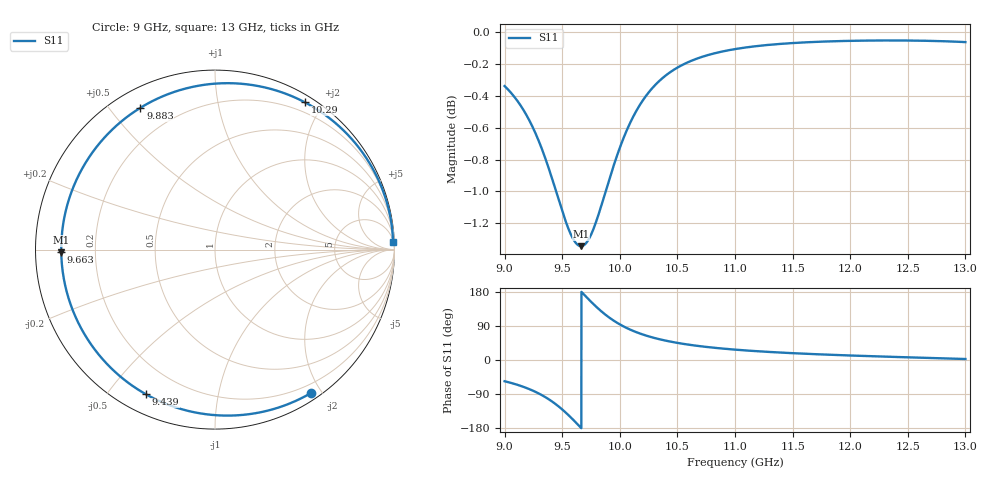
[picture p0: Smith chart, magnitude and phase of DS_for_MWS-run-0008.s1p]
! TOUCHSTONE file generated by CST DESIGN STUDIO
! Date and time: Tue Feb  4 18:28:30 2025
! Project name: C:\Work\MatlabApps\UnitCellOptimizationMatlab\CST\unitcell.cst
! Tree item: Tasks\Sweep1\SPara1\S-Parameters
! Header version: 2024
! Port assignment regex: !\s*Touchstone port\s*([0-9]+)\s*=\s*(CST MWS port|CST DES external port|CST DES block port)\s*(.+)\s* \(\"(.*)\"\)(\s*mode\s*([0-9]+))?.*
! Touchstone port assignment:
! Touchstone port 1 = CST DES external port 1 ("")
# GHz S MA R 50
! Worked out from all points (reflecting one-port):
!   4001 points, 9 GHz to 13 GHz, reference 50 ohm
!   lowest |S11| = -1.3 dB at 9.663 GHz (marker M1), VSWR 12.96, Z = 3.86 - j0.446 ohm
!   phase of S11 starts at -56 deg and turns -301 deg over the sweep
!   S11 on the Smith chart (normalised r, x): 9 GHz: 0.09, -1.88; 9.439 GHz: 0.08, -0.63; 9.663 GHz: 0.08, -0.01; 9.883 GHz: 0.08, +0.60; 10.29 GHz: 0.08, +1.78; 13 GHz: 7, +43
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9  0.9617 -56.0
9.112  0.9514 -65.5
9.223  0.9369 -77.9
9.343  0.915 -96.1
9.393  0.904 -105.6
9.439  0.8932 -115.5
9.5  0.8788 -130.4
9.543  0.8697 -142.2
9.589  0.862 -155.8
9.627  0.8581 -167.6
9.663  0.8568 -179.0
9.709  0.8588 166.4
9.757  0.865 151.7
9.821  0.8779 133.4
9.883  0.8927 117.8
9.939  0.9062 105.5
10  0.9198 94.0
10.07  0.9332 83.0
10.141  0.9443 73.7
10.295  0.9614 58.6
10.392  0.9686 51.5
10.5  0.9746 45.1
10.719  0.9823 35.6
11  0.9877 27.4
11.5  0.992 18.0
12  0.9936 11.9
12.5  0.9938 7.1
13  0.9927 2.6
